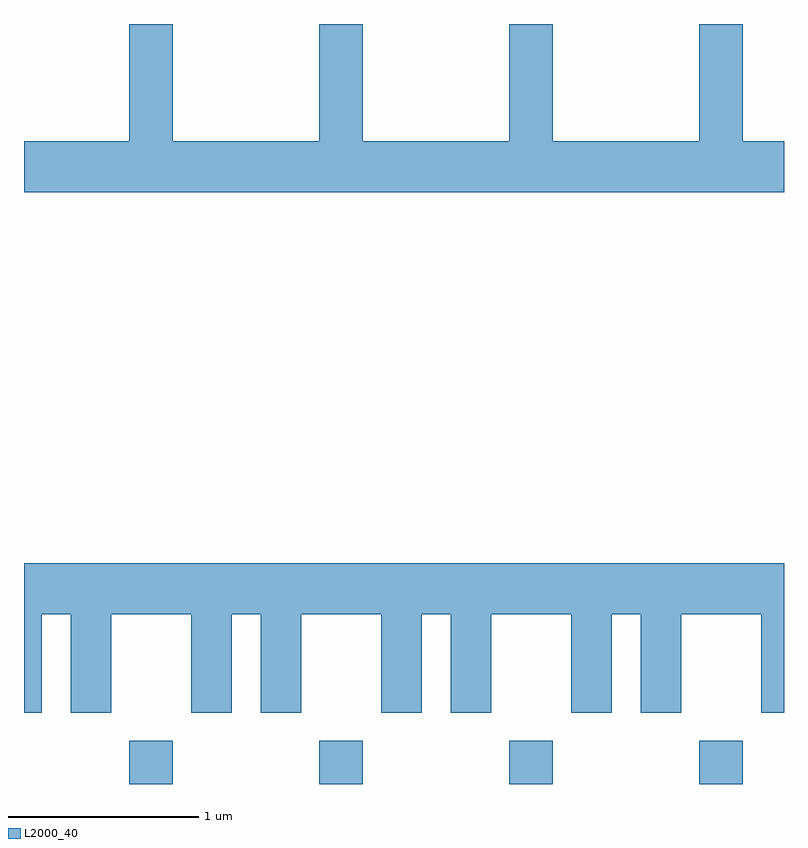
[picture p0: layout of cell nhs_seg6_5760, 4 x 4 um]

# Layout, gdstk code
import gdstk
lib = gdstk.Library(unit=1e-6, precision=1e-09)
def R(c, l, rs):  # rectangles x0, y0, x1, y1
    for r in rs: c.add(gdstk.rectangle(r[:2], r[2:], *l))
def A(c, l, x, y, w, h, nx, ny, dx, dy):  # array of equal rectangles
    R(c, l, [(x+i*dx, y+j*dy, x+i*dx+w, y+j*dy+h) for i in range(nx) for j in range(ny)])
def P(c, l, *ps):  # polygons
    for p in ps: c.add(gdstk.Polygon(p, *l))
L2000_40 = (2000, 40)

nhs_seg6_5760 = lib.new_cell('nhs_seg6_5760')
A(nhs_seg6_5760, L2000_40, 360.166, 1640.162, 0.228, 0.227, 4, 1, 1, 0)
P(nhs_seg6_5760, L2000_40, [(363.611,1643.544),(363.394,1643.544),(363.394,1644.162),(363.166,1644.162),(363.166,1643.544),(362.394,1643.544),(362.394,1644.162),(362.166,1644.162),(362.166,1643.544),(361.394,1643.544),(361.394,1644.162),(361.166,1644.162),(361.166,1643.544),(360.394,1643.544),(360.394,1644.162),(360.166,1644.162),(360.166,1643.544),(359.611,1643.544),(359.611,1643.276),(363.611,1643.276)],
  [(359.704,1641.056),(359.856,1641.056),(359.856,1640.536),(360.069,1640.536),(360.069,1641.056),(360.491,1641.056),(360.491,1640.536),(360.704,1640.536),(360.704,1641.056),(360.856,1641.056),(360.856,1640.536),(361.069,1640.536),(361.069,1641.056),(361.491,1641.056),(361.491,1640.536),(361.704,1640.536),(361.704,1641.056),(361.856,1641.056),(361.856,1640.536),(362.069,1640.536),(362.069,1641.056),(362.491,1641.056),(362.491,1640.536),(362.704,1640.536),(362.704,1641.056),(362.856,1641.056),(362.856,1640.536),(363.069,1640.536),(363.069,1641.056),(363.491,1641.056),(363.491,1640.536),(363.611,1640.536),(363.611,1641.324),(359.611,1641.324),(359.611,1640.536),(359.704,1640.536)])

lib.write_gds('nhs_seg6_5760.gds')
